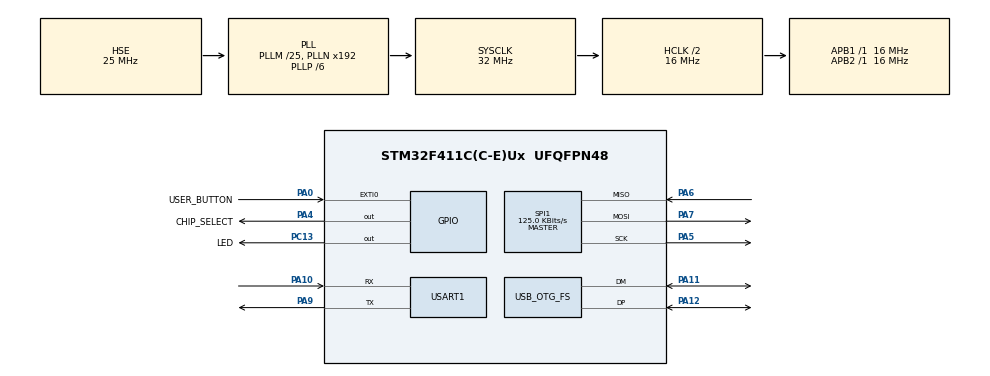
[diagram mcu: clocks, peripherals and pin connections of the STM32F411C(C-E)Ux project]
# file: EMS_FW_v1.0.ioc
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Dma.Request0=USART1_RX
Dma.Request1=USART1_TX
Dma.USART1_RX.0.Direction=DMA_PERIPH_TO_MEMORY
Dma.USART1_RX.0.FIFOMode=DMA_FIFOMODE_DISABLE
Dma.USART1_RX.0.Instance=DMA2_Stream2
Dma.USART1_RX.0.MemDataAlignment=DMA_MDATAALIGN_BYTE
Dma.USART1_RX.0.MemInc=DMA_MINC_ENABLE
Dma.USART1_RX.0.Mode=DMA_NORMAL
Dma.USART1_RX.0.PeriphDataAlignment=DMA_PDATAALIGN_BYTE
Dma.USART1_RX.0.PeriphInc=DMA_PINC_DISABLE
Dma.USART1_RX.0.Priority=DMA_PRIORITY_LOW
Dma.USART1_TX.1.Direction=DMA_MEMORY_TO_PERIPH
Dma.USART1_TX.1.FIFOMode=DMA_FIFOMODE_DISABLE
Dma.USART1_TX.1.Instance=DMA2_Stream7
Dma.USART1_TX.1.MemDataAlignment=DMA_MDATAALIGN_BYTE
Dma.USART1_TX.1.MemInc=DMA_MINC_ENABLE
Dma.USART1_TX.1.Mode=DMA_NORMAL
Dma.USART1_TX.1.PeriphDataAlignment=DMA_PDATAALIGN_BYTE
Dma.USART1_TX.1.PeriphInc=DMA_PINC_DISABLE
Dma.USART1_TX.1.Priority=DMA_PRIORITY_LOW
Mcu.Family=STM32F4
Mcu.Name=STM32F411C(C-E)Ux
Mcu.Package=UFQFPN48
NVIC.DMA2_Stream2_IRQn=true\:0\:0\:false\:false\:true\:false\:true\:true
NVIC.DMA2_Stream7_IRQn=true\:0\:0\:false\:false\:true\:false\:true\:true
NVIC.EXTI0_IRQn=true\:0\:0\:false\:false\:true\:true\:true\:true
NVIC.OTG_FS_IRQn=true\:0\:0\:false\:false\:true\:false\:true\:true
NVIC.PriorityGroup=NVIC_PRIORITYGROUP_4
NVIC.TIM1_UP_TIM10_IRQn=true\:0\:0\:false\:false\:true\:false\:true\:true
NVIC.TimeBase=TIM1_UP_TIM10_IRQn
NVIC.TimeBaseIP=TIM10
NVIC.USART1_IRQn=true\:0\:0\:false\:false\:true\:true\:true\:true
PA0-WKUP.GPIO_Label=USER_BUTTON
PA0-WKUP.GPIO_ModeDefaultEXTI=GPIO_MODE_IT_FALLING
PA0-WKUP.GPIO_PuPd=GPIO_PULLUP
PA0-WKUP.Signal=GPXTI0
PA10.Mode=Asynchronous
PA10.Signal=USART1_RX
PA11.Mode=Device_Only
PA11.Signal=USB_OTG_FS_DM
PA12.Mode=Device_Only
PA12.Signal=USB_OTG_FS_DP
PA13.Mode=Serial_Wire
PA13.Signal=SYS_JTMS-SWDIO
PA14.Mode=Serial_Wire
PA14.Signal=SYS_JTCK-SWCLK
PA4.GPIO_Label=CHIP_SELECT
PA4.Signal=GPIO_Output
PA5.Mode=Full_Duplex_Master
PA5.Signal=SPI1_SCK
PA6.Mode=Full_Duplex_Master
PA6.Signal=SPI1_MISO
PA7.Mode=Full_Duplex_Master
PA7.Signal=SPI1_MOSI
PA9.Mode=Asynchronous
PA9.Signal=USART1_TX
PC13-ANTI_TAMP.GPIO_Label=LED
PC13-ANTI_TAMP.Signal=GPIO_Output
PH0\ -\ OSC_IN.Mode=HSE-External-Oscillator
PH0\ -\ OSC_IN.Signal=RCC_OSC_IN
PH1\ -\ OSC_OUT.Mode=HSE-External-Oscillator
PH1\ -\ OSC_OUT.Signal=RCC_OSC_OUT
ProjectManager.HeapSize=0x200
ProjectManager.StackSize=0x400
ProjectManager.TargetToolchain=STM32CubeIDE
RCC.48MHZClocksFreq_Value=48000000
RCC.AHBCLKDivider=RCC_SYSCLK_DIV2
RCC.AHBFreq_Value=16000000
RCC.APB1Freq_Value=16000000
RCC.APB1TimFreq_Value=16000000
RCC.APB2Freq_Value=16000000
RCC.APB2TimFreq_Value=16000000
RCC.CortexFreq_Value=16000000
RCC.HCLKFreq_Value=16000000
RCC.HSE_VALUE=25000000
RCC.HSI_VALUE=16000000
RCC.LSE_VALUE=32768
RCC.PLLM=25
RCC.PLLP=RCC_PLLP_DIV6
RCC.SYSCLKFreq_VALUE=32000000
RCC.SYSCLKSource=RCC_SYSCLKSOURCE_PLLCLK
RCC.VCOOutputFreq_Value=192000000
SPI1.BaudRatePrescaler=SPI_BAUDRATEPRESCALER_128
SPI1.CLKPhase=SPI_PHASE_2EDGE
SPI1.CLKPolarity=SPI_POLARITY_HIGH
SPI1.CalculateBaudRate=125.0 KBits/s
SPI1.Direction=SPI_DIRECTION_2LINES
SPI1.Mode=SPI_MODE_MASTER
SPI1.VirtualType=VM_MASTER
USART1.VirtualMode=VM_ASYNC
USB_DEVICE.CLASS_NAME_FS=CDC
USB_DEVICE.VirtualMode=Cdc
USB_DEVICE.VirtualModeFS=Cdc_FS
USB_OTG_FS.VirtualMode=Device_Only
VP_SYS_VS_tim10.Mode=TIM10
VP_USB_DEVICE_VS_USB_DEVICE_CDC_FS.Mode=CDC_FS
board=custom

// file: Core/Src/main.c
/* USER CODE BEGIN Header */
/**
  ******************************************************************************
  * @file           : main.c
  * @brief          : Main program body
  ******************************************************************************
  * @attention
  *
  * Copyright (c) 2026 STMicroelectronics.
  * All rights reserved.
  *
  * This software is licensed under terms that can be found in the LICENSE file
  * in the root directory of this software component.
  * If no LICENSE file comes with this software, it is provided AS-IS.
  *
  ******************************************************************************
  */
/* USER CODE END Header */
#include "main.h"
#include "usb_device.h"

/* USER CODE BEGIN Includes */
#include "modbusSlave.h"
#include "modbus_crc.h"
#include "usbd_cdc_if.h"
#include "stdbool.h"
#include "ems_data.h"
#include "ltc6811.h"
#include "ems_monitor.h"
#include "ems_temperature.h"
#include "ems_fault.h"
#include "ems_balancing.h"
#include "usb_debug.h"
#include "ems_calibration.h"
#include "ems_modbus.h"
#include <stdio.h>
/* USER CODE END Includes */

SPI_HandleTypeDef hspi1;

UART_HandleTypeDef huart1;
DMA_HandleTypeDef hdma_usart1_rx;
DMA_HandleTypeDef hdma_usart1_tx;

/* USER CODE BEGIN PV */
EMS_Data_t EMS_Data = {0};
uint8_t RxData[256];
uint8_t TxData[256];
/* USER CODE END PV */

void SystemClock_Config(void);
static void MX_GPIO_Init(void);
static void MX_DMA_Init(void);
static void MX_SPI1_Init(void);
static void MX_USART1_UART_Init(void);

/* USER CODE BEGIN 0 */
extern USBD_HandleTypeDef hUsbDeviceFS;

/******************************************************************************
 * Function:    _write
 * Description: Override for printf() output via USB CDC.
 *              If USB is not connected or busy, data is silently dropped.
 * Parameters:  file - File descriptor (unused)
 *              ptr  - Pointer to output data
 *              len  - Number of bytes to output
 * Returns:     int  - Number of bytes written (always returns len)
 ******************************************************************************/
int _write(int file, char *ptr, int len)
{
	if (hUsbDeviceFS.dev_state != USBD_STATE_CONFIGURED)	  /* USB not connected or not ready → drop data */
	{
		return len;
	}

	if (CDC_Transmit_FS((uint8_t*)ptr, len) == USBD_OK)	 /* Try once, non-blocking */
	{
		return len;
	}
	return len;	/* USB busy → drop this printf */
}

/******************************************************************************
 * Function:    HAL_GPIO_EXTI_Callback
 * Description: External interrupt callback (currently unused).
 *              Placeholder for future button/interrupt handling.
 * Parameters:  GPIO_Pin - Pin that triggered the interrupt
 * Returns:     None
 ******************************************************************************/
void HAL_GPIO_EXTI_Callback(uint16_t GPIO_Pin)
{
	;;
}

/******************************************************************************
 * Function:    HAL_UART_ErrorCallback
 * Description: UART error callback. Clears errors and restarts DMA reception.
 * Parameters:  huart - Pointer to UART handle
 * Returns:     None
 ******************************************************************************/
void HAL_UART_ErrorCallback(UART_HandleTypeDef *huart)
{
	if (huart->Instance == USART1)
	{
		__HAL_UART_CLEAR_PEFLAG(huart);         /* Clear UART parity/noise/overrun/framing error flags */
		HAL_UART_AbortReceive(huart);           /* Abort DMA safely */
		HAL_UARTEx_ReceiveToIdle_DMA(huart, RxData, sizeof(RxData));  /* Restart DMA reception */
		__HAL_DMA_DISABLE_IT(huart->hdmarx, DMA_IT_HT);               /* Disable Half Transfer interrupt */
	}
}

/******************************************************************************
 * Function:    HAL_UARTEx_RxEventCallback
 * Description: UART Receive to Idle Event Callback. Processes received Modbus
 *              frames when an Idle Line is detected or Rx buffer is full.
 * Parameters:  huart - Pointer to UART handle
 *              Size  - Number of bytes received
 * Returns:     None
 ******************************************************************************/
void HAL_UARTEx_RxEventCallback(UART_HandleTypeDef *huart, uint16_t Size)
{
	if (huart->Instance == USART1)
	{
		if (RxData[0] == SLAVE_ID)
		{
			switch (RxData[1])
			{
			case 0x03:
				readHoldingRegs();
				break;
			case 0x04:
				readInputRegs();
				break;
			case 0x06:
				writeSingleReg();
				break;
			case 0x10:
				writeHoldingRegs();
				break;
			default:
				modbusException(ILLEGAL_FUNCTION);
				break;
			}
		}
	}
	HAL_UARTEx_ReceiveToIdle_DMA(&huart1, RxData, sizeof(RxData));
	__HAL_DMA_DISABLE_IT(huart1.hdmarx, DMA_IT_HT);
}
/* USER CODE END 0 */

int main(void)
{

  /* MCU Configuration--------------------------------------------------------*/

  /* Reset of all peripherals, Initializes the Flash interface and the Systick. */
  HAL_Init();

  /* USER CODE BEGIN Init */
  /* DWT cycle counter is initialized inside LTC6811_Init() */
  /* USER CODE END Init */

  /* Configure the system clock */
  SystemClock_Config();

  /* Initialize all configured peripherals */
  MX_GPIO_Init();
  MX_DMA_Init();
  MX_SPI1_Init();
  MX_USB_DEVICE_Init();
  MX_USART1_UART_Init();
  /* USER CODE BEGIN 2 */
  LTC6811_Init();

  /* Start Modbus UART DMA reception with Idle detection */
  HAL_UARTEx_ReceiveToIdle_DMA(&huart1, RxData, sizeof(RxData));
  __HAL_DMA_DISABLE_IT(huart1.hdmarx, DMA_IT_HT);
  /* USER CODE END 2 */

  /* Infinite loop */
  while (1)
  {

    /* USER CODE BEGIN 3 */

    /*
     * STEP 1: Read all measurements
     * Cell voltages, status registers, GPIO
     */
    EMS_UpdateMeasurements();

    HAL_Delay(20);

    /*
     * STEP 2: Calculate temperature from GPIO1 NTC
     */
    EMS_UpdateTemperature();

    /*
     * STEP 3: Check for faults (OV/UV)
     */
    EMS_CheckFaults();

    /*
     * STEP 4: Open Wire Test
     */
    EMS_OpenWireTest();

    HAL_Delay(20);

    /*
     * STEP 5: Print diagnostics
     */
    USB_PrintCellVoltages(&EMS_Data);

    USB_PrintStatusA(&EMS_Data);

    USB_PrintStatusB(&EMS_Data);

    USB_PrintGPIO1Temperature(&EMS_Data);

    /*
     * STEP 6: Cell Balancing (enable when needed)
     */
    // EMS_CellBalancing();

    /*
     * STEP 7: Update Modbus Input Registers
     */
    EMS_UpdateModbusRegisters();

    HAL_Delay(2000);

    printf("\r\n");
  }
  /* USER CODE END 3 */
}

void SystemClock_Config(void)
{
  RCC_OscInitTypeDef RCC_OscInitStruct = {0};
  RCC_ClkInitTypeDef RCC_ClkInitStruct = {0};

  /** Configure the main internal regulator output voltage
  */
  __HAL_RCC_PWR_CLK_ENABLE();
  __HAL_PWR_VOLTAGESCALING_CONFIG(PWR_REGULATOR_VOLTAGE_SCALE1);

  /** Initializes the RCC Oscillators according to the specified parameters
  * in the RCC_OscInitTypeDef structure.
  */
  RCC_OscInitStruct.OscillatorType = RCC_OSCILLATORTYPE_HSE;
  RCC_OscInitStruct.HSEState = RCC_HSE_ON;
  RCC_OscInitStruct.PLL.PLLState = RCC_PLL_ON;
  RCC_OscInitStruct.PLL.PLLSource = RCC_PLLSOURCE_HSE;
  RCC_OscInitStruct.PLL.PLLM = 25;
  RCC_OscInitStruct.PLL.PLLN = 192;
  RCC_OscInitStruct.PLL.PLLP = RCC_PLLP_DIV6;
  RCC_OscInitStruct.PLL.PLLQ = 4;
  if (HAL_RCC_OscConfig(&RCC_OscInitStruct) != HAL_OK)
  {
    Error_Handler();
  }

  /** Initializes the CPU, AHB and APB buses clocks
  */
  RCC_ClkInitStruct.ClockType = RCC_CLOCKTYPE_HCLK|RCC_CLOCKTYPE_SYSCLK
                              |RCC_CLOCKTYPE_PCLK1|RCC_CLOCKTYPE_PCLK2;
  RCC_ClkInitStruct.SYSCLKSource = RCC_SYSCLKSOURCE_PLLCLK;
  RCC_ClkInitStruct.AHBCLKDivider = RCC_SYSCLK_DIV2;
  RCC_ClkInitStruct.APB1CLKDivider = RCC_HCLK_DIV1;
  RCC_ClkInitStruct.APB2CLKDivider = RCC_HCLK_DIV1;

  if (HAL_RCC_ClockConfig(&RCC_ClkInitStruct, FLASH_LATENCY_0) != HAL_OK)
  {
    Error_Handler();
  }
}

static void MX_SPI1_Init(void)
{

  /* SPI1 parameter configuration*/
  hspi1.Instance = SPI1;
  hspi1.Init.Mode = SPI_MODE_MASTER;
  hspi1.Init.Direction = SPI_DIRECTION_2LINES;
  hspi1.Init.DataSize = SPI_DATASIZE_8BIT;
  hspi1.Init.CLKPolarity = SPI_POLARITY_HIGH;
  hspi1.Init.CLKPhase = SPI_PHASE_2EDGE;
  hspi1.Init.NSS = SPI_NSS_SOFT;
  hspi1.Init.BaudRatePrescaler = SPI_BAUDRATEPRESCALER_128;
  hspi1.Init.FirstBit = SPI_FIRSTBIT_MSB;
  hspi1.Init.TIMode = SPI_TIMODE_DISABLE;
  hspi1.Init.CRCCalculation = SPI_CRCCALCULATION_DISABLE;
  hspi1.Init.CRCPolynomial = 10;
  if (HAL_SPI_Init(&hspi1) != HAL_OK)
  {
    Error_Handler();
  }

}

static void MX_USART1_UART_Init(void)
{

  huart1.Instance = USART1;
  huart1.Init.BaudRate = 115200;
  huart1.Init.WordLength = UART_WORDLENGTH_8B;
  huart1.Init.StopBits = UART_STOPBITS_1;
  huart1.Init.Parity = UART_PARITY_NONE;
  huart1.Init.Mode = UART_MODE_TX_RX;
  huart1.Init.HwFlowCtl = UART_HWCONTROL_NONE;
  huart1.Init.OverSampling = UART_OVERSAMPLING_16;
  if (HAL_UART_Init(&huart1) != HAL_OK)
  {
    Error_Handler();
  }

}

static void MX_DMA_Init(void)
{

  /* DMA controller clock enable */
  __HAL_RCC_DMA2_CLK_ENABLE();

  /* DMA interrupt init */
  /* DMA2_Stream2_IRQn interrupt configuration */
  HAL_NVIC_SetPriority(DMA2_Stream2_IRQn, 0, 0);
  HAL_NVIC_EnableIRQ(DMA2_Stream2_IRQn);
  /* DMA2_Stream7_IRQn interrupt configuration */
  HAL_NVIC_SetPriority(DMA2_Stream7_IRQn, 0, 0);
  HAL_NVIC_EnableIRQ(DMA2_Stream7_IRQn);

}

static void MX_GPIO_Init(void)
{
  GPIO_InitTypeDef GPIO_InitStruct = {0};

  /* GPIO Ports Clock Enable */
  __HAL_RCC_GPIOC_CLK_ENABLE();
  __HAL_RCC_GPIOH_CLK_ENABLE();
  __HAL_RCC_GPIOA_CLK_ENABLE();

  /*Configure GPIO pin Output Level */
  HAL_GPIO_WritePin(LED_GPIO_Port, LED_Pin, GPIO_PIN_RESET);

  /*Configure GPIO pin Output Level */
  HAL_GPIO_WritePin(CHIP_SELECT_GPIO_Port, CHIP_SELECT_Pin, GPIO_PIN_RESET);

  /*Configure GPIO pin : LED_Pin */
  GPIO_InitStruct.Pin = LED_Pin;
  GPIO_InitStruct.Mode = GPIO_MODE_OUTPUT_PP;
  GPIO_InitStruct.Pull = GPIO_NOPULL;
  GPIO_InitStruct.Speed = GPIO_SPEED_FREQ_LOW;
  HAL_GPIO_Init(LED_GPIO_Port, &GPIO_InitStruct);

  /*Configure GPIO pin : USER_BUTTON_Pin */
  GPIO_InitStruct.Pin = USER_BUTTON_Pin;
  GPIO_InitStruct.Mode = GPIO_MODE_IT_FALLING;
  GPIO_InitStruct.Pull = GPIO_PULLUP;
  HAL_GPIO_Init(USER_BUTTON_GPIO_Port, &GPIO_InitStruct);

  /*Configure GPIO pin : CHIP_SELECT_Pin */
  GPIO_InitStruct.Pin = CHIP_SELECT_Pin;
  GPIO_InitStruct.Mode = GPIO_MODE_OUTPUT_PP;
  GPIO_InitStruct.Pull = GPIO_NOPULL;
  GPIO_InitStruct.Speed = GPIO_SPEED_FREQ_LOW;
  HAL_GPIO_Init(CHIP_SELECT_GPIO_Port, &GPIO_InitStruct);

  /* EXTI interrupt init*/
  HAL_NVIC_SetPriority(EXTI0_IRQn, 0, 0);
  HAL_NVIC_EnableIRQ(EXTI0_IRQn);

}

void HAL_TIM_PeriodElapsedCallback(TIM_HandleTypeDef *htim)
{
  if (htim->Instance == TIM10)
  {
    HAL_IncTick();
  }
}

void Error_Handler(void)
{
  __disable_irq();
  while (1)
  {
  }
}
